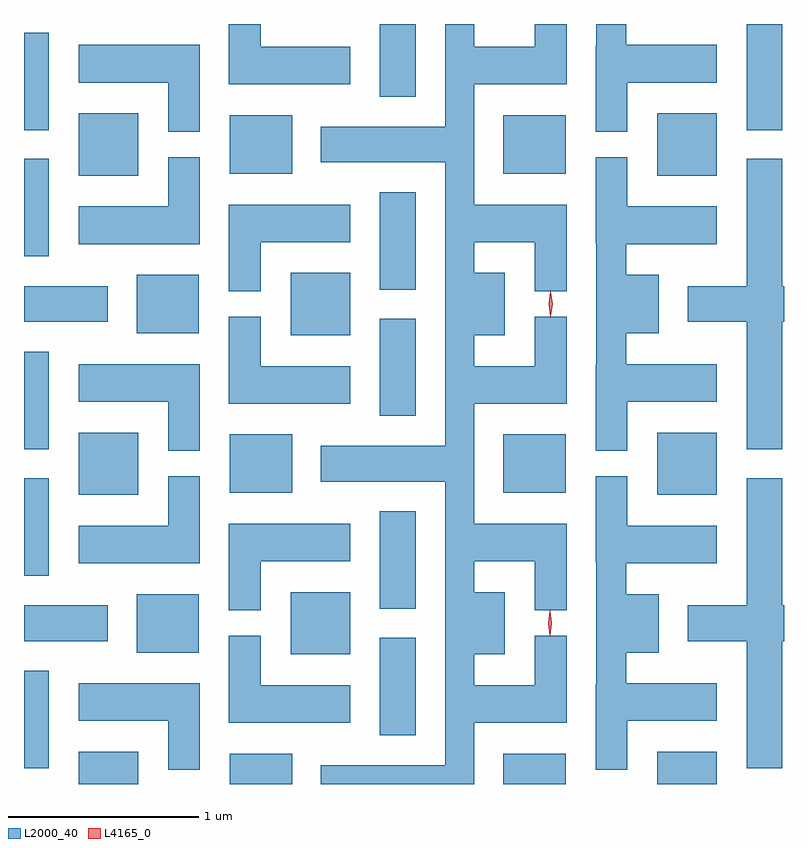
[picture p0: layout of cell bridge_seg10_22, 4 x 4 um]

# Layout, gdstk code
import gdstk
lib = gdstk.Library(unit=1e-6, precision=1e-09)
def R(c, l, rs):  # rectangles x0, y0, x1, y1
    for r in rs: c.add(gdstk.rectangle(r[:2], r[2:], *l))
def P(c, l, *ps):  # polygons
    for p in ps: c.add(gdstk.Polygon(p, *l))
L2000_40 = (2000, 40)
L4165_0 = (4165, 0)

bridge_seg10_22 = lib.new_cell('bridge_seg10_22')
R(bridge_seg10_22, L2000_40, [(1747.651,2176.724,1747.964,2176.894), (1748.446,2176.724,1748.774,2176.884), (1749.886,2176.724,1750.214,2176.884), (1750.696,2176.724,1751.009,2176.894), (1747.363,2176.806,1747.494,2177.319), (1749.236,2176.981,1749.424,2177.494), (1748.766,2177.406,1749.079,2177.734), (1747.956,2177.416,1748.284,2177.724), (1747.363,2177.476,1747.804,2177.664), (1749.236,2177.646,1749.424,2178.159), (1747.363,2177.821,1747.494,2178.334), (1747.651,2178.246,1747.964,2178.574), (1750.696,2178.246,1751.009,2178.574), (1748.446,2178.256,1748.774,2178.564), (1749.886,2178.256,1750.214,2178.564), (1747.363,2178.486,1747.494,2178.999), (1749.236,2178.661,1749.424,2179.174), (1748.766,2179.086,1749.079,2179.414), (1747.956,2179.096,1748.284,2179.404), (1747.363,2179.156,1747.804,2179.344), (1749.236,2179.326,1749.424,2179.839), (1747.363,2179.501,1747.494,2180.014), (1747.651,2179.926,1747.964,2180.254), (1750.696,2179.926,1751.009,2180.254), (1748.446,2179.936,1748.774,2180.244), (1749.886,2179.936,1750.214,2180.244), (1747.363,2180.166,1747.494,2180.679), (1751.166,2180.166,1751.354,2180.724), (1749.236,2180.341,1749.424,2180.724)])
P(bridge_seg10_22, L2000_40, [(1749.734,2177.046),(1750.219,2177.046),(1750.219,2177.503),(1750.051,2177.503),(1750.051,2177.244),(1749.734,2177.244),(1749.734,2177.406),(1749.894,2177.406),(1749.894,2177.734),(1749.734,2177.734),(1749.734,2177.896),(1750.051,2177.896),(1750.051,2177.638),(1750.219,2177.638),(1750.219,2178.094),(1749.734,2178.094),(1749.734,2178.726),(1750.219,2178.726),(1750.219,2179.183),(1750.051,2179.183),(1750.051,2178.924),(1749.734,2178.924),(1749.734,2179.086),(1749.894,2179.086),(1749.894,2179.414),(1749.734,2179.414),(1749.734,2179.576),(1750.051,2179.576),(1750.051,2179.318),(1750.219,2179.318),(1750.219,2179.774),(1749.734,2179.774),(1749.734,2180.406),(1750.219,2180.406),(1750.219,2180.724),(1750.051,2180.724),(1750.051,2180.604),(1749.734,2180.604),(1749.734,2180.724),(1749.581,2180.724),(1749.581,2180.184),(1748.926,2180.184),(1748.926,2179.996),(1749.581,2179.996),(1749.581,2178.504),(1748.926,2178.504),(1748.926,2178.316),(1749.581,2178.316),(1749.581,2176.824),(1748.926,2176.824),(1748.926,2176.724),(1749.734,2176.724)],
  [(1749.079,2180.604),(1748.609,2180.604),(1748.609,2180.724),(1748.441,2180.724),(1748.441,2180.406),(1749.079,2180.406)],
  [(1750.539,2180.416),(1751.009,2180.416),(1751.009,2180.614),(1750.534,2180.614),(1750.534,2180.724),(1750.376,2180.724),(1750.376,2180.61),(1750.371,2180.61),(1750.371,2180.158),(1750.539,2180.158)],
  [(1748.289,2180.614),(1747.651,2180.614),(1747.651,2180.416),(1748.121,2180.416),(1748.121,2180.158),(1748.289,2180.158)],
  [(1748.289,2180.023),(1748.121,2180.023),(1748.121,2179.764),(1747.651,2179.764),(1747.651,2179.566),(1748.289,2179.566)],
  [(1750.539,2178.736),(1751.009,2178.736),(1751.009,2178.934),(1750.534,2178.934),(1750.534,2179.096),(1750.704,2179.096),(1750.704,2179.404),(1750.534,2179.404),(1750.534,2179.566),(1751.009,2179.566),(1751.009,2179.764),(1750.539,2179.764),(1750.539,2180.023),(1750.371,2180.023),(1750.371,2179.57),(1750.376,2179.57),(1750.376,2178.93),(1750.371,2178.93),(1750.371,2178.478),(1750.539,2178.478)],
  [(1751.354,2179.156),(1751.363,2179.156),(1751.363,2179.344),(1751.354,2179.344),(1751.354,2180.014),(1751.166,2180.014),(1751.166,2179.344),(1750.856,2179.344),(1750.856,2179.156),(1751.166,2179.156),(1751.166,2178.486),(1751.354,2178.486)],
  [(1748.609,2179.576),(1749.079,2179.576),(1749.079,2179.774),(1748.441,2179.774),(1748.441,2179.318),(1748.609,2179.318)],
  [(1749.079,2178.924),(1748.609,2178.924),(1748.609,2179.183),(1748.441,2179.183),(1748.441,2178.726),(1749.079,2178.726)],
  [(1748.289,2178.934),(1747.651,2178.934),(1747.651,2178.736),(1748.121,2178.736),(1748.121,2178.478),(1748.289,2178.478)],
  [(1750.539,2177.056),(1751.009,2177.056),(1751.009,2177.254),(1750.534,2177.254),(1750.534,2177.416),(1750.704,2177.416),(1750.704,2177.724),(1750.534,2177.724),(1750.534,2177.886),(1751.009,2177.886),(1751.009,2178.084),(1750.539,2178.084),(1750.539,2178.343),(1750.371,2178.343),(1750.371,2177.89),(1750.376,2177.89),(1750.376,2177.25),(1750.371,2177.25),(1750.371,2176.798),(1750.539,2176.798)],
  [(1748.289,2178.343),(1748.121,2178.343),(1748.121,2178.084),(1747.651,2178.084),(1747.651,2177.886),(1748.289,2177.886)],
  [(1751.354,2177.476),(1751.363,2177.476),(1751.363,2177.664),(1751.354,2177.664),(1751.354,2178.334),(1751.166,2178.334),(1751.166,2177.664),(1750.856,2177.664),(1750.856,2177.476),(1751.166,2177.476),(1751.166,2176.806),(1751.354,2176.806)],
  [(1748.609,2177.896),(1749.079,2177.896),(1749.079,2178.094),(1748.441,2178.094),(1748.441,2177.638),(1748.609,2177.638)],
  [(1749.079,2177.244),(1748.609,2177.244),(1748.609,2177.503),(1748.441,2177.503),(1748.441,2177.046),(1749.079,2177.046)],
  [(1748.289,2177.254),(1747.651,2177.254),(1747.651,2177.056),(1748.121,2177.056),(1748.121,2176.798),(1748.289,2176.798)])
P(bridge_seg10_22, L4165_0, [(1750.131,2177.504),(1750.131,2177.505),(1750.121,2177.57),(1750.131,2177.635),(1750.131,2177.636),(1750.132,2177.635),(1750.141,2177.57),(1750.132,2177.505)],
  [(1750.135,2179.184),(1750.134,2179.185),(1750.125,2179.25),(1750.134,2179.315),(1750.135,2179.316),(1750.136,2179.315),(1750.145,2179.25),(1750.136,2179.185)])

lib.write_gds('bridge_seg10_22.gds')
